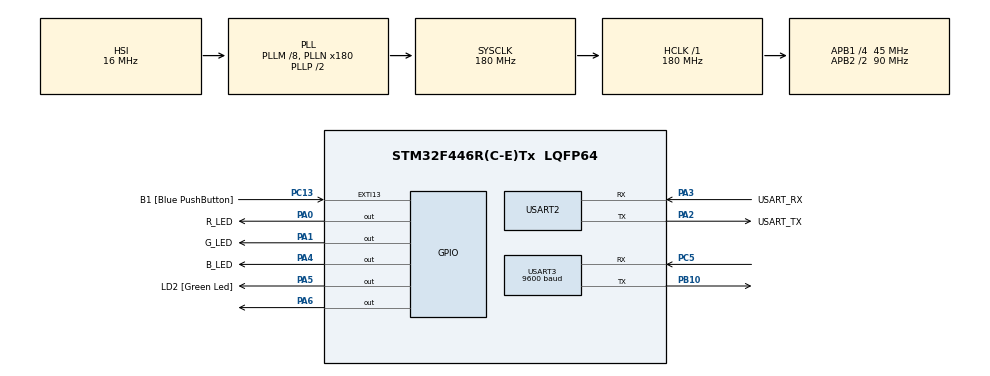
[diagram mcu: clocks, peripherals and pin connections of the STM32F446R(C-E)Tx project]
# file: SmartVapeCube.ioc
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FREERTOS.Tasks01=defaultTask,0,128,StartDefaultTask,Default,NULL,Dynamic,NULL,NULL
Mcu.Family=STM32F4
Mcu.Name=STM32F446R(C-E)Tx
Mcu.Package=LQFP64
NVIC.PriorityGroup=NVIC_PRIORITYGROUP_0
NVIC.USART2_IRQn=true\:0\:0\:false\:false\:true\:true\:true\:true
NVIC.USART3_IRQn=true\:0\:0\:false\:false\:true\:true\:true\:true
PA0-WKUP.GPIO_Label=R_LED
PA0-WKUP.Signal=GPIO_Output
PA1.GPIO_Label=G_LED
PA1.Signal=GPIO_Output
PA13.GPIO_Label=TMS
PA13.Mode=Serial_Wire
PA13.Signal=SYS_JTMS-SWDIO
PA14.GPIO_Label=TCK
PA14.Mode=Serial_Wire
PA14.Signal=SYS_JTCK-SWCLK
PA2.GPIO_Label=USART_TX
PA2.Mode=Asynchronous
PA2.Signal=USART2_TX
PA3.GPIO_Label=USART_RX
PA3.Mode=Asynchronous
PA3.Signal=USART2_RX
PA4.GPIO_Label=B_LED
PA4.Signal=GPIO_Output
PA5.GPIO_Label=LD2 [Green Led]
PA5.Signal=GPIO_Output
PA6.Signal=GPIO_Output
PB10.Mode=Asynchronous
PB10.Signal=USART3_TX
PB3.GPIO_Label=SWO
PB3.Signal=SYS_JTDO-SWO
PC13.GPIO_Label=B1 [Blue PushButton]
PC13.GPIO_ModeDefaultEXTI=GPIO_MODE_IT_FALLING
PC13.Signal=GPXTI13
PC14-OSC32_IN.Mode=LSE-External-Oscillator
PC14-OSC32_IN.Signal=RCC_OSC32_IN
PC15-OSC32_OUT.Mode=LSE-External-Oscillator
PC15-OSC32_OUT.Signal=RCC_OSC32_OUT
PC5.Mode=Asynchronous
PC5.Signal=USART3_RX
PH0-OSC_IN.Mode=HSE-External-Oscillator
PH0-OSC_IN.Signal=RCC_OSC_IN
PH1-OSC_OUT.Mode=HSE-External-Oscillator
PH1-OSC_OUT.Signal=RCC_OSC_OUT
ProjectManager.HeapSize=0x200
ProjectManager.StackSize=0x400
ProjectManager.TargetToolchain=STM32CubeIDE
RCC.48MHZClocksFreq_Value=84000000
RCC.AHBFreq_Value=180000000
RCC.APB1CLKDivider=RCC_HCLK_DIV4
RCC.APB1Freq_Value=45000000
RCC.APB1TimFreq_Value=90000000
RCC.APB2CLKDivider=RCC_HCLK_DIV2
RCC.APB2Freq_Value=90000000
RCC.APB2TimFreq_Value=180000000
RCC.CortexFreq_Value=180000000
RCC.FLatency-AdvancedSettings=FLASH_LATENCY_5
RCC.HCLKFreq_Value=180000000
RCC.HSE_VALUE=8000000
RCC.HSI_VALUE=16000000
RCC.PLLM=8
RCC.PLLN=180
RCC.SYSCLKFreq_VALUE=180000000
RCC.SYSCLKSource=RCC_SYSCLKSOURCE_PLLCLK
RCC.USBFreq_Value=180000000
RCC.VCOOutputFreq_Value=360000000
USART2.VirtualMode=VM_ASYNC
USART3.BaudRate=9600
USART3.VirtualMode=VM_ASYNC
VP_FREERTOS_VS_CMSIS_V1.Mode=CMSIS_V1
board=NUCLEO-F446RE

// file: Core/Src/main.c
/* USER CODE BEGIN Header */
/**
  ******************************************************************************
  * @file           : main.c
  * @brief          : Main program body
  ******************************************************************************
  * @attention
  *
  * <h2><center>&copy; Copyright (c) 2020 STMicroelectronics.
  * All rights reserved.</center></h2>
  *
  * This software component is licensed by ST under BSD 3-Clause license,
  * the "License"; You may not use this file except in compliance with the
  * License. You may obtain a copy of the License at:
  *                        opensource.org/licenses/BSD-3-Clause
  *
  ******************************************************************************
  */
/* USER CODE END Header */
#include "main.h"
#include "cmsis_os.h"
#include "usart.h"
#include "gpio.h"

/* USER CODE BEGIN Includes */
#include "RingBuffer.h"
#include "hc06.h"
#include "queue.h"
#include "semphr.h"
/* USER CODE END Includes */

/* USER CODE BEGIN PV */
TaskHandle_t BleTaskHandle = NULL;
TaskHandle_t CliTaskHandle = NULL;
volatile uint8_t Received;
volatile uint8_t ReceivedHC06;
BaseType_t checkIfYieldRequired_BLE;
BaseType_t checkIfYieldRequired_CLI;
/* USER CODE END PV */

void SystemClock_Config(void);
void MX_FREERTOS_Init(void);
/* USER CODE BEGIN PFP */
void vLEDTask( void *pvParameters );
void vBleSendTask( void *pvParameters );
void vCliSendTask( void *pvParameters );
void HAL_UART_RxCpltCallback(UART_HandleTypeDef *huart);
/* USER CODE END PFP */

int main(void)
{

  /* MCU Configuration--------------------------------------------------------*/

  /* Reset of all peripherals, Initializes the Flash interface and the Systick. */
  HAL_Init();

  /* Configure the system clock */
  SystemClock_Config();

  /* USER CODE BEGIN SysInit */
  NVIC_SetPriorityGrouping(0U);
  /* USER CODE END SysInit */

  /* Initialize all configured peripherals */
  MX_GPIO_Init();
  MX_USART2_UART_Init();
  MX_USART3_UART_Init();
  /* USER CODE BEGIN 2 */

  // Change priority to enable rtos callbacks
  HAL_NVIC_SetPriority(USART3_IRQn, 5, 0);
  HAL_NVIC_SetPriority(USART2_IRQn, 5, 0);

  // Creating tasks
  xTaskCreate( vLEDTask, "LEDTask", 100, NULL, 1, NULL );
  xTaskCreate( vBleSendTask, "BleSendTask", 100, NULL, 1, &BleTaskHandle );
  xTaskCreate( vCliSendTask, "CliSendTask", 100, NULL, 1, &CliTaskHandle );

  // Start receiving interrupts
  HAL_UART_Receive_IT(&huart2, (uint8_t*)&Received, 1);
  HAL_UART_Receive_IT(&huart3, (uint8_t*)&ReceivedHC06, 1);

  //HC06_Init(&huart2);
  /* USER CODE END 2 */

  /* Call init function for freertos objects (in freertos.c) */
  MX_FREERTOS_Init();
  /* Start scheduler */
  osKernelStart();

  /* We should never get here as control is now taken by the scheduler */
  /* Infinite loop */
  while (1)
  {

  }
}

void SystemClock_Config(void)
{
  RCC_OscInitTypeDef RCC_OscInitStruct = {0};
  RCC_ClkInitTypeDef RCC_ClkInitStruct = {0};

  /** Configure the main internal regulator output voltage
  */
  __HAL_RCC_PWR_CLK_ENABLE();
  __HAL_PWR_VOLTAGESCALING_CONFIG(PWR_REGULATOR_VOLTAGE_SCALE1);
  /** Initializes the RCC Oscillators according to the specified parameters
  * in the RCC_OscInitTypeDef structure.
  */
  RCC_OscInitStruct.OscillatorType = RCC_OSCILLATORTYPE_HSI;
  RCC_OscInitStruct.HSIState = RCC_HSI_ON;
  RCC_OscInitStruct.HSICalibrationValue = RCC_HSICALIBRATION_DEFAULT;
  RCC_OscInitStruct.PLL.PLLState = RCC_PLL_ON;
  RCC_OscInitStruct.PLL.PLLSource = RCC_PLLSOURCE_HSI;
  RCC_OscInitStruct.PLL.PLLM = 8;
  RCC_OscInitStruct.PLL.PLLN = 180;
  RCC_OscInitStruct.PLL.PLLP = RCC_PLLP_DIV2;
  RCC_OscInitStruct.PLL.PLLQ = 2;
  RCC_OscInitStruct.PLL.PLLR = 2;
  if (HAL_RCC_OscConfig(&RCC_OscInitStruct) != HAL_OK)
  {
    Error_Handler();
  }
  /** Activate the Over-Drive mode
  */
  if (HAL_PWREx_EnableOverDrive() != HAL_OK)
  {
    Error_Handler();
  }
  /** Initializes the CPU, AHB and APB buses clocks
  */
  RCC_ClkInitStruct.ClockType = RCC_CLOCKTYPE_HCLK|RCC_CLOCKTYPE_SYSCLK
                              |RCC_CLOCKTYPE_PCLK1|RCC_CLOCKTYPE_PCLK2;
  RCC_ClkInitStruct.SYSCLKSource = RCC_SYSCLKSOURCE_PLLCLK;
  RCC_ClkInitStruct.AHBCLKDivider = RCC_SYSCLK_DIV1;
  RCC_ClkInitStruct.APB1CLKDivider = RCC_HCLK_DIV4;
  RCC_ClkInitStruct.APB2CLKDivider = RCC_HCLK_DIV2;

  if (HAL_RCC_ClockConfig(&RCC_ClkInitStruct, FLASH_LATENCY_5) != HAL_OK)
  {
    Error_Handler();
  }
}

/* USER CODE BEGIN 4 */

void HAL_UART_RxCpltCallback(UART_HandleTypeDef *huart) {

	if(huart->Instance == USART2){
		rng_buf_add(Received);
		if(Received == 13){
			checkIfYieldRequired_CLI = xTaskResumeFromISR(CliTaskHandle);
			portYIELD_FROM_ISR(checkIfYieldRequired_CLI);
		}

		HAL_UART_Receive_IT(&huart2, (uint8_t*)&Received, 1);
	}

	else if(huart->Instance == USART3){
		HC06_rx_buffer[HC06_rx_counter] = (char)ReceivedHC06;

		if(HC06_rx_buffer[HC06_rx_counter] == 0x0d) {
			checkIfYieldRequired_BLE = xTaskResumeFromISR(BleTaskHandle);
			portYIELD_FROM_ISR(checkIfYieldRequired_BLE);
		} else {
			HC06_rx_counter++;
		}

		HAL_UART_Receive_IT(&huart3, (uint8_t*)&ReceivedHC06, 1);
	}

};

void vLEDTask(void *pvParameters) {

	for (;;) {

		HAL_GPIO_TogglePin(GPIOA, GPIO_PIN_5);
		vTaskDelay( 100 / portTICK_RATE_MS );
	}

	vTaskDelete(NULL);
};

void set_rgb_led(char rgb){
	switch(rgb){
    case 'r':
    	HAL_GPIO_TogglePin(R_LED_GPIO_Port, R_LED_Pin);
      break;
    case 'g':
    	HAL_GPIO_TogglePin(G_LED_GPIO_Port, G_LED_Pin);
      break;
    case 'b':
    	HAL_GPIO_TogglePin(B_LED_GPIO_Port, B_LED_Pin);
      break;
	}
}

void vBleSendTask( void *pvParameters ){
	char Data[20] = {0};
	while(1){
		vTaskSuspend(NULL);
		  memcpy(HC06_msg, HC06_rx_buffer, HC06_rx_counter);
		  memset(HC06_rx_buffer, 0, HC06_RX_BUFFER_LENGTH);
		  HC06_rx_counter = 0;

		  sprintf((char*)Data, "HC06 (received): %s \n\r", HC06_msg);
		  if (strlen(HC06_msg) == 1) set_rgb_led(HC06_msg[0]);
		  memset(HC06_msg, 0, HC06_RX_BUFFER_LENGTH);
		  HAL_UART_Transmit(&huart2, Data, strlen(Data), 100);
		  memset(HC06_msg, 0, 20);
	}
	vTaskDelete(NULL);
};

void vCliSendTask( void *pvParameters ){
	char Data[50] = {0};
	char cmd[20] = {0};
	while(1){
		vTaskSuspend(NULL);
			rng_buf_get_buff(cmd);
			sprintf(Data, "CLI (received): %s \n\r", cmd);
			HAL_UART_Transmit(&huart2, Data, strlen(Data), 1000);
			memset(cmd, 0, 20);
			memset(Data, 0, 50);
	}
	vTaskDelete(NULL);
};
/* USER CODE END 4 */

void Error_Handler(void)
{
}

/************************ (C) COPYRIGHT STMicroelectronics *****END OF FILE****/
